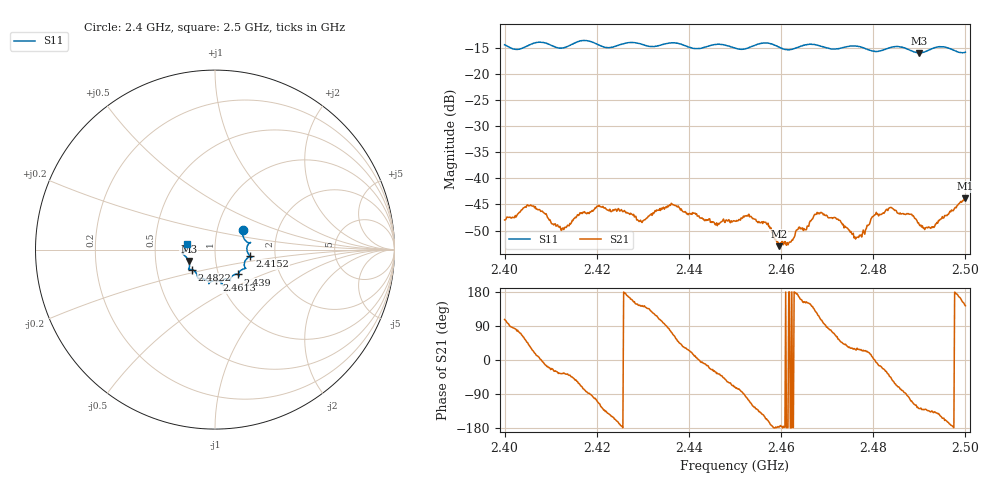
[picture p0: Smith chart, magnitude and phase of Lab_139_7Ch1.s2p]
# Hz S RI R 50
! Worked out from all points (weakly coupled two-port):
!   601 points, 2.4 GHz to 2.5 GHz, reference 50 ohm
!   highest |S21| = -43.84 dB at 2.5 GHz (marker M1); lowest = -53.0 dB at 2.4595 GHz (marker M2)
!   lowest |S11| = -15.9 dB at 2.49 GHz (marker M3), VSWR 1.38, Z = 36.9 - j4.83 ohm
!   |S11| at or under -10 dB: start of sweep to end of sweep
!   S12 and S22 are empty: the file has one direction only
!   S11 on the Smith chart (normalised r, x): 2.4 GHz: 1.33, +0.31; 2.4152 GHz: 1.48, -0.11; 2.439 GHz: 1.24, -0.36; 2.4613 GHz: 0.96, -0.34; 2.4822 GHz: 0.76, -0.17; 2.5 GHz: 0.72, +0.05
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2.4e9  0.1553 0.1116  -0.00117 0.00382  0 0  0 0
2.405333e9  0.1858 0.0387  0.00427 0.00341  0 0  0 0
2.412333e9  0.1773 0.00115  0.00254 -0.00186  0 0  0 0
2.415167e9  0.1952 -0.036  0.00264 -0.0032  0 0  0 0
2.416667e9  0.2049 -0.0422  0.00166 -0.00438  0 0  0 0
2.420833e9  0.1805 -0.0475  -0.00283 -0.00456  0 0  0 0
2.429667e9  0.1617 -0.1069  -0.00304 0.00235  0 0  0 0
2.433333e9  0.1323 -0.1323  -0.00182 0.0046  0 0  0 0
2.436333e9  0.1346 -0.1475  0.00181 0.00538  0 0  0 0
2.439e9  0.1278 -0.1386  0.004 0.00259  0 0  0 0
2.45e9  0.0689 -0.1634  0.00125 -0.00368  0 0  0 0
2.456667e9  0.0398 -0.1952  -0.00345 -0.00159  0 0  0 0
2.4595e9  0.0301 -0.1792  -0.00224 -0.000117  0 0  0 0
2.461333e9  0.00741 -0.1711  -0.00243 -6.64e-05  0 0  0 0
2.466667e9  -0.0338 -0.1903  -0.00317 0.00252  0 0  0 0
2.471833e9  -0.0639 -0.1619  0.00179 0.0038  0 0  0 0
2.476333e9  -0.0946 -0.1597  0.00242 0.0012  0 0  0 0
2.482167e9  -0.1282 -0.1115  0.00429 -0.00185  0 0  0 0
2.483333e9  -0.1395 -0.1099  0.00409 -0.00314  0 0  0 0
2.49e9  -0.1465 -0.0638  -0.00223 -0.00283  0 0  0 0
2.492833e9  -0.1734 -0.0291  -0.00241 -0.00237  0 0  0 0
2.5e9  -0.1585 0.034  -0.00513 0.00386  0 0  0 0
